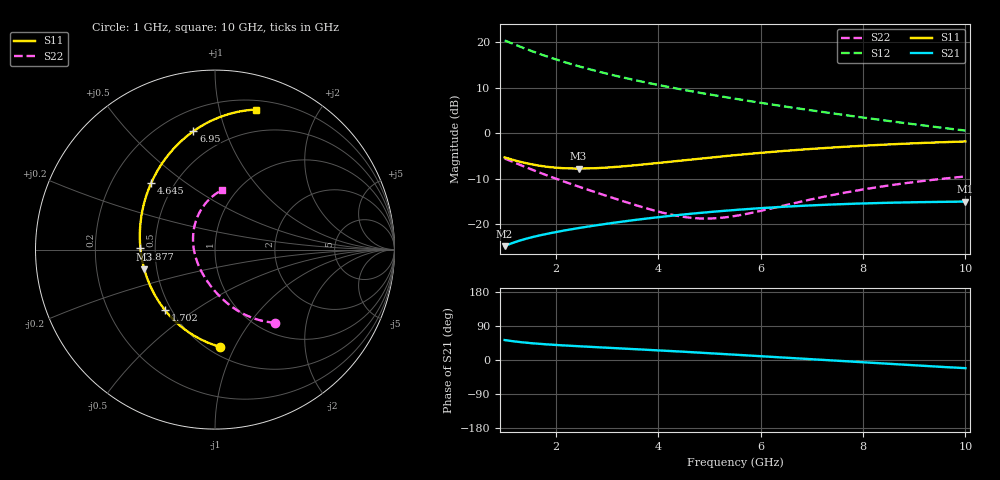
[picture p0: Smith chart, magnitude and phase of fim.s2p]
# Hz S RI R 50
! Freq.	S11(V2)	S12(V2)	S21(V2)	S22(V2)
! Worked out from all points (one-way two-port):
!   1001 points, 1 GHz to 10 GHz, reference 50 ohm
!   highest |S21| = -15.04 dB at 10 GHz (marker M1); lowest = -24.9 dB at 1 GHz (marker M2)
!   lowest |S11| = -7.8 dB at 2.443 GHz (marker M3), VSWR 2.38, Z = 21.3 - j5.62 ohm
!   |S11| at or under -10 dB: nowhere
!   |S22| runs from -18.8 to -5.5 dB; largest |S21 - S12| = 10
!   S11 on the Smith chart (normalised r, x): 1 GHz: 0.57, -0.88; 1.702 GHz: 0.46, -0.39; 2.877 GHz: 0.41, +0.01; 4.645 GHz: 0.37, +0.38; 6.95 GHz: 0.33, +0.78; 10 GHz: 0.28, +1.30
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1e9  0.03 -0.542  0.0347 0.0455  -5.223 9.119  0.3363 -0.4074
1.172195e9  -0.0739 -0.5028  0.0407 0.0474  -3.738 8.843  0.2699 -0.3983
1.333521e9  -0.1525 -0.4563  0.0458 0.0488  -2.604 8.449  0.2181 -0.3838
1.51008e9  -0.2209 -0.4004  0.0508 0.0499  -1.602 7.946  0.1713 -0.3646
1.702159e9  -0.2784 -0.3377  0.0558 0.0509  -0.7415 7.373  0.1295 -0.342
1.86638e9  -0.3164 -0.2845  0.0598 0.0517  -0.155 6.887  0.0998 -0.3226
2.041738e9  -0.3479 -0.2291  0.0639 0.0524  0.3516 6.387  0.0727 -0.3022
2.233572e9  -0.3737 -0.1708  0.0682 0.053  0.7939 5.871  0.0476 -0.2806
2.443431e9  -0.3939 -0.1099  0.0729 0.0536  1.173 5.345  0.0241 -0.258
2.500345e9  -0.3981 -0.0939  0.0742 0.0537  1.261 5.21  0.0183 -0.252
2.877398e9  -0.4155 0.00628  0.0825 0.0543  1.711 4.387  -0.0149 -0.2142
3.126079e9  -0.4189 0.0674  0.088 0.0543  1.912 3.908  -0.0331 -0.1904
3.396253e9  -0.4168 0.1298  0.0941 0.0539  2.068 3.439  -0.0503 -0.1654
4.008667e9  -0.3954 0.2574  0.1078 0.0513  2.253 2.537  -0.0816 -0.1102
4.645153e9  -0.3549 0.3724  0.1218 0.046  2.283 1.791  -0.1045 -0.0535
5.508077e9  -0.2792 0.5027  0.1391 0.0345  2.171 1.015  -0.1208 0.0239
6.20869e9  -0.2056 0.588  0.1509 0.0219  2.005 0.5405  -0.1213 0.0862
6.950243e9  -0.1205 0.6594  0.1604 0.00611  1.794 0.1594  -0.1096 0.1494
7.014553e9  -0.1129 0.6647  0.1611 0.00465  1.775 0.1315  -0.108 0.1547
7.726806e9  -0.0279 0.7144  0.1667 -0.012  1.557 -0.1308  -0.0848 0.2099
8.51138e9  0.065 0.7515  0.1691 -0.0309  1.322 -0.3335  -0.0487 0.2624
1e10  0.2289 0.7803  0.1646 -0.065  0.9246 -0.539  0.0397 0.3322
